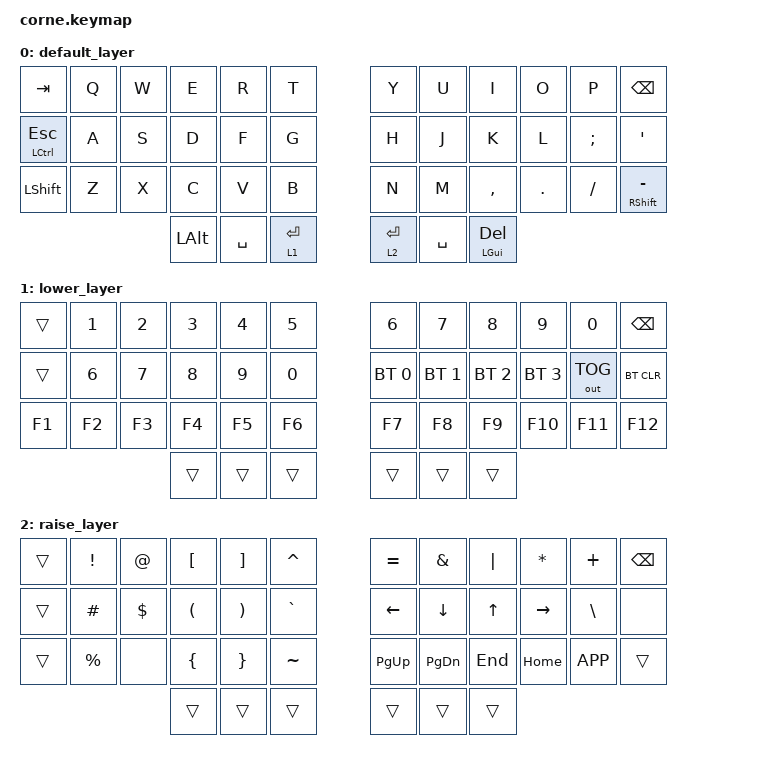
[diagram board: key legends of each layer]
/*
 * Copyright (c) 2020 The ZMK Contributors
 *
 * SPDX-License-Identifier: MIT
 */

#include <behaviors.dtsi>
#include <dt-bindings/zmk/keys.h>
#include <dt-bindings/zmk/bt.h>
#include <dt-bindings/zmk/outputs.h>

#define BTP0 &bt BT_SEL 0
#define BTP1 &bt BT_SEL 1
#define BTP2 &bt BT_SEL 2
#define BTP3 &bt BT_SEL 3
#define BTP4 &bt BT_SEL 4
#define BTOG &out OUT_TOG

/ {
        keymap {
                compatible = "zmk,keymap";                              

                default_layer {
// -----------------------------------------------------------------------------------------
// | TAB       |  Q  |  W  |  E  |  R  |  T  |   |  Y  |  U  |  I  |  O  |  P  |   BKSP    |
// | LCTRL/ESC |  A  |  S  |  D  |  F  |  G  |   |  H  |  J  |  K  |  L  |  ;  |   '       |
// | LSHFT     |  Z  |  X  |  C  |  V  |  B  |   |  N  |  M  |  ,  |  .  |  /  | RSHIFT/-  |
//                         | ALT | SPC | LWR |   | RSE | SPC | DEL |
                        bindings = <
   &kp TAB       &kp Q     &kp W     &kp E     &kp R     &kp T          &kp Y     &kp U      &kp I     &kp O     &kp P     &kp BSPC
   &mt LCTRL ESC &kp A     &kp S     &kp D     &kp F     &kp G          &kp H     &kp J      &kp K     &kp L     &kp SEMI  &kp SQT
   &kp LSHFT     &kp Z     &kp X     &kp C     &kp V     &kp B          &kp N     &kp M      &kp COMMA &kp DOT   &kp FSLH  &mt RSHFT MINUS
                                     &kp LALT  &kp SPACE &lt 1 RET      &lt 2 RET &kp SPACE  &mt LGUI DEL
                        >;
                };      
                lower_layer {
// -----------------------------------------------------------------------------------------
// | LALT/TAB  |  1  |  2  |  3  |  4  |  5  |   |  6  |  7  |  8  |  9  |  0  |   BKSP    |
// | LCTRL/ESC |  6  |  7  |  8  |  9  |  0  |   | BTP0| BTP1| BTP2| BTP3| BTP4|   BTCLR   |
// |    F1     |  F2 |  F3 |  F4 |  F5 |  F6 |   |  F7 |  F8 |  F9 | F10 | F11 |   F12     |
//                         | GUI | SPC | LWR |   | RSE | SPC | DEL |
                        bindings = <
   &trans        &kp N1    &kp N2    &kp N3    &kp N4    &kp N5         &kp N6    &kp N7     &kp N8    &kp N9    &kp N0    &kp BSPC
   &trans        &kp N6    &kp N7    &kp N8    &kp N9    &kp N0         BTP0      BTP1       BTP2      BTP3      BTOG      &bt BT_CLR
   &kp F1        &kp F2    &kp F3    &kp F4    &kp F5    &kp F6         &kp F7    &kp F8     &kp F9    &kp F10   &kp F11   &kp F12
                                     &trans    &trans    &trans         &trans    &trans     &trans
                        >;
                };

                raise_layer {
// -----------------------------------------------------------------------------------------
// | LALT/TAB  |  !  |  @  |  {  |  {  |  ^  |   |  =  |  &  |  +  |  *  |  )  |   BKSP    |
// | LCTRL/ESC |  #  |  $  |  (  |  )  |  `  |   | LEFT| DOWN|  UP | RGHT|  \  |           |
// | LSHFT     |  %  |     |  [  |  ]  |  ~  |   | PGUP| PGDN| END | HOME| APP | RSHIFT/-  |
//                         | GUI | SPC |     |   |     | SPC | DEL |
                        bindings = <
   &trans        &kp EXCL  &kp AT     &kp LBKT  &kp RBKT  &kp CARET      &kp EQUAL &kp AMPS  &kp PIPE  &kp ASTRK &kp PLUS  &kp BSPC
   &trans        &kp HASH  &kp DLLR   &kp LPAR  &kp RPAR  &kp GRAVE      &kp LEFT  &kp DOWN  &kp UP    &kp RIGHT &kp BSLH  &none
   &trans        &kp PRCNT &none      &kp LBRC  &kp RBRC  &kp TILDE      &kp PG_UP &kp PG_DN &kp END   &kp HOME  &kp K_APP &trans
                                      &trans    &trans    &trans         &trans    &trans    &trans
                        >;
                };
        };
};
